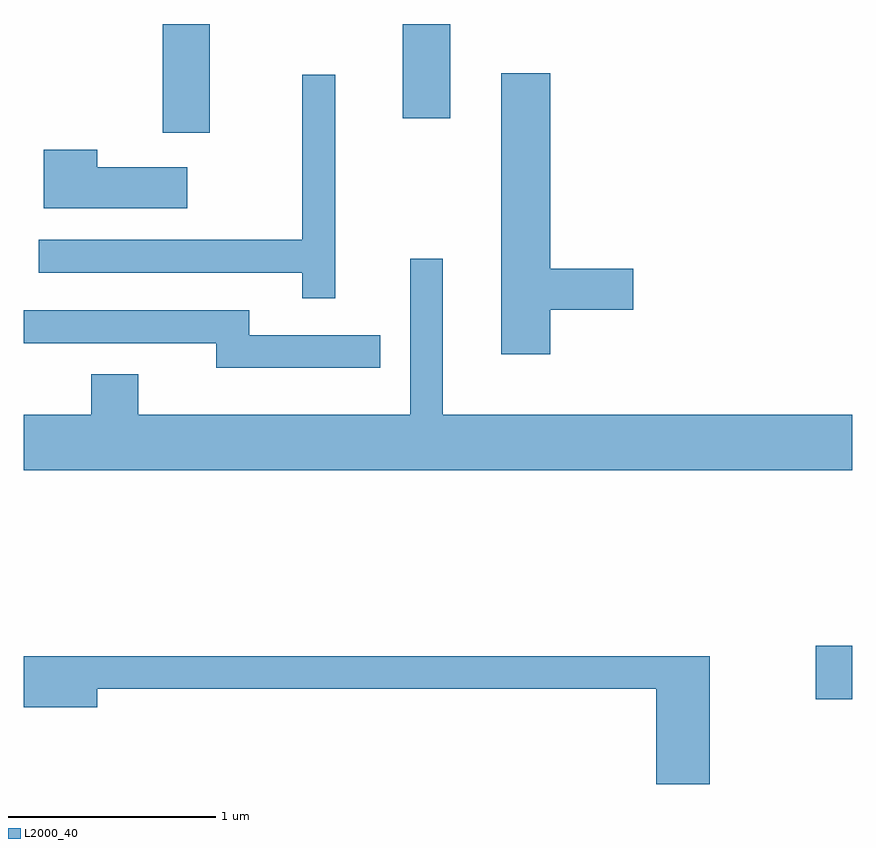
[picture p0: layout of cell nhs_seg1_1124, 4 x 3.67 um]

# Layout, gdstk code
import gdstk
lib = gdstk.Library(unit=1e-6, precision=1e-09)
def R(c, l, rs):  # rectangles x0, y0, x1, y1
    for r in rs: c.add(gdstk.rectangle(r[:2], r[2:], *l))
def P(c, l, *ps):  # polygons
    for p in ps: c.add(gdstk.Polygon(p, *l))
L2000_40 = (2000, 40)

nhs_seg1_1124 = lib.new_cell('nhs_seg1_1124')
R(nhs_seg1_1124, L2000_40, [(223.436,918.451,223.611,918.709), (220.281,921.186,220.509,921.712), (221.441,921.256,221.669,921.712)])
P(nhs_seg1_1124, L2000_40, [(222.154,920.331),(222.554,920.331),(222.554,920.529),(222.154,920.529),(222.154,921.474),(221.916,921.474),(221.916,920.116),(222.154,920.116)],
  [(221.114,921.468),(220.956,921.468),(220.956,920.669),(219.683,920.669),(219.683,920.511),(220.956,920.511),(220.956,920.388),(221.114,920.388)],
  [(220.399,921.019),(219.964,921.019),(219.964,921.104),(219.706,921.104),(219.706,920.821),(220.399,920.821)],
  [(223.611,919.824),(221.634,919.824),(221.634,920.578),(221.476,920.578),(221.476,919.824),(220.164,919.824),(220.164,920.019),(219.936,920.019),(219.936,919.824),(219.611,919.824),(219.611,919.556),(223.611,919.556)],
  [(221.333,920.209),(220.699,920.209),(220.699,920.329),(219.611,920.329),(219.611,920.171),(220.541,920.171),(220.541,920.051),(221.333,920.051)],
  [(222.924,918.659),(219.611,918.659),(219.611,918.411),(219.964,918.411),(219.964,918.501),(222.666,918.501),(222.666,918.041),(222.924,918.041)])

lib.write_gds('nhs_seg1_1124.gds')
